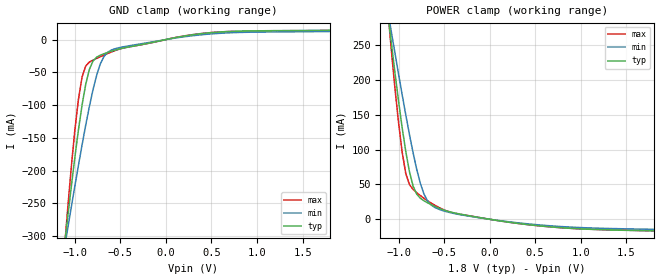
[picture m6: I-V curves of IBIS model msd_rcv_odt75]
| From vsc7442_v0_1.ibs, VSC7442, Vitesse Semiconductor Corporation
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|   Model msd_rcv_odt75
[Model]  msd_rcv_odt75
Model_type Input
Polarity   Non-Inverting
Vinl =   0.6500V
Vinh =   1.1500V
C_comp   2.0000pF   1.8000pF   2.2000pF
[Temperature Range]   25.0000   0.1250k   -40.0000
[Pullup Reference]   1.8000V   1.7000V   1.9000V
[Pulldown Reference]   0.0V   0.0V   0.0V
[POWER Clamp Reference]   1.8000V   1.7000V   1.9000V
[GND Clamp Reference]   0.0V   0.0V   0.0V
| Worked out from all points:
|   GND clamp passes 1 mA (typ) near -0.03 V on its own axis
|   POWER clamp passes 1 mA (typ) near -0.05 V on its own axis
[GND_clamp]
|Voltage   I(typ)   I(min)   I(max)
-1.8V     -1.192A    -913.3mA   -1.596A
-1.12V    -323.5mA   -324.4mA   -331mA
-1.08V    -274.6mA   -290.8mA   -262.4mA
-1V       -181.2mA   -224.7mA   -139.7mA
-960mV    -138.3mA   -192.5mA   -91.65mA
-920mV    -100.1mA   -161.1mA   -57.42mA
-840mV    -45.71mA   -102.5mA   -34.43mA
-760mV    -26.95mA   -54.54mA   -28.82mA
-640mV    -19.76mA   -19.49mA   -21.36mA
-480mV    -13.35mA   -11.4mA    -13.34mA
480mV     10.34mA    8.428mA    10.48mA
1.8V      14.26mA    12.25mA    13.7mA
[POWER_clamp]
| voltage   I(typ)   I(min)   I(max)
-1.8V     1.1A       849.8mA    1.455A
-1.12V    299.7mA    301.8mA    305.1mA
-1.08V    255.1mA    270.5mA    245mA
-1V       170.3mA    209.1mA    139.5mA
-960mV    131.7mA    179.1mA    96.61mA
-920mV    97.16mA    149.9mA    65.57mA
-840mV    47.73mA    95.49mA    42.86mA
-760mV    30.23mA    51.4mA     34mA
-680mV    23.58mA    26.01mA    26.51mA
-600mV    18.43mA    16.85mA    20.02mA
400mV     -7.411mA   -6.348mA   -7.387mA
1.8V      -16.73mA   -14.46mA   -16.51mA
